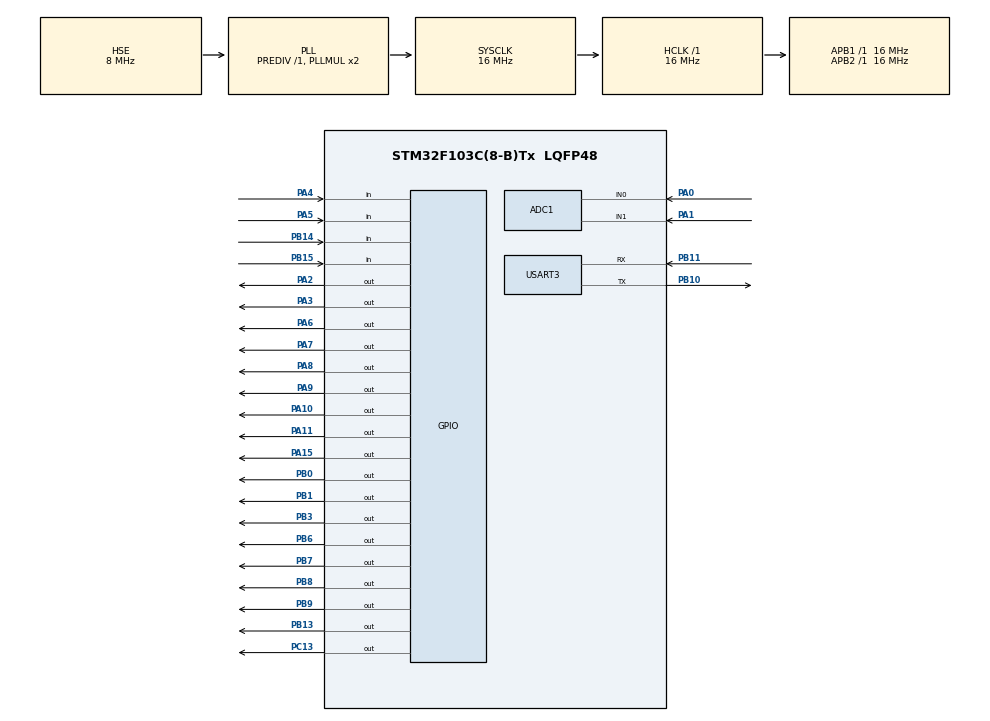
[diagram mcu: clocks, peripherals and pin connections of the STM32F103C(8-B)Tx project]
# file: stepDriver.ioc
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ADC1.Channel-0\#ChannelRegularConversion=ADC_CHANNEL_0
ADC1.Channel-1\#ChannelRegularConversion=ADC_CHANNEL_1
ADC1.ContinuousConvMode=DISABLE
ADC1.DiscontinuousConvMode=ENABLE
ADC1.NbrOfConversion=2
ADC1.NbrOfConversionFlag=1
ADC1.Rank-0\#ChannelRegularConversion=1
ADC1.Rank-1\#ChannelRegularConversion=2
ADC1.SamplingTime-0\#ChannelRegularConversion=ADC_SAMPLETIME_1CYCLE_5
ADC1.SamplingTime-1\#ChannelRegularConversion=ADC_SAMPLETIME_1CYCLE_5
ADC1.master=1
Mcu.Family=STM32F1
Mcu.Name=STM32F103C(8-B)Tx
Mcu.Package=LQFP48
NVIC.PriorityGroup=NVIC_PRIORITYGROUP_4
NVIC.TIM2_IRQn=true\:0\:0\:false\:false\:true\:true\:true
NVIC.USART3_IRQn=true\:0\:0\:false\:false\:true\:true\:true
PA0-WKUP.Signal=ADCx_IN0
PA1.Signal=ADCx_IN1
PA10.Signal=GPIO_Output
PA11.Signal=GPIO_Output
PA13.Mode=Serial_Wire
PA13.Signal=SYS_JTMS-SWDIO
PA14.Mode=Serial_Wire
PA14.Signal=SYS_JTCK-SWCLK
PA15.Signal=GPIO_Output
PA2.Signal=GPIO_Output
PA3.Signal=GPIO_Output
PA4.Signal=GPIO_Input
PA5.Signal=GPIO_Input
PA6.Signal=GPIO_Output
PA7.Signal=GPIO_Output
PA8.Signal=GPIO_Output
PA9.Signal=GPIO_Output
PB0.Signal=GPIO_Output
PB1.Signal=GPIO_Output
PB10.Mode=Asynchronous
PB10.Signal=USART3_TX
PB11.Mode=Asynchronous
PB11.Signal=USART3_RX
PB13.Signal=GPIO_Output
PB14.Signal=GPIO_Input
PB15.Signal=GPIO_Input
PB3.Signal=GPIO_Output
PB6.Signal=GPIO_Output
PB7.Signal=GPIO_Output
PB8.Signal=GPIO_Output
PB9.Signal=GPIO_Output
PC13-TAMPER-RTC.Signal=GPIO_Output
PC14-OSC32_IN.Mode=LSE-External-Clock-Source
PC14-OSC32_IN.Signal=RCC_OSC32_IN
PC15-OSC32_OUT.Mode=LSE-External-Clock-Source
PC15-OSC32_OUT.Signal=RCC_OSC32_OUT
PD0-OSC_IN.Mode=HSE-External-Oscillator
PD0-OSC_IN.Signal=RCC_OSC_IN
PD1-OSC_OUT.Mode=HSE-External-Oscillator
PD1-OSC_OUT.Signal=RCC_OSC_OUT
ProjectManager.HeapSize=0x200
ProjectManager.StackSize=0x400
ProjectManager.TargetToolchain=MDK-ARM V5
RCC.AHBFreq_Value=16000000
RCC.APB1Freq_Value=16000000
RCC.APB1TimFreq_Value=16000000
RCC.APB2Freq_Value=16000000
RCC.APB2TimFreq_Value=16000000
RCC.HCLKFreq_Value=16000000
RCC.PLLSourceVirtual=RCC_PLLSOURCE_HSE
RCC.SYSCLKFreq_VALUE=16000000
RCC.SYSCLKSource=RCC_SYSCLKSOURCE_PLLCLK
RCC.USBFreq_Value=16000000
SH.ADCx_IN0.0=ADC1_IN0,IN0
SH.ADCx_IN1.0=ADC1_IN1,IN1
TIM2.Period=500-1
TIM2.Prescaler=16-1
USART3.VirtualMode=VM_ASYNC
VP_TIM2_VS_ClockSourceINT.Mode=Internal
board=custom

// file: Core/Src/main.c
/* USER CODE BEGIN Header */
/**
  ******************************************************************************
  * @file           : main.c
  * @brief          : Main program body
  ******************************************************************************
  * @attention
  *
  * Copyright (c) 2022 STMicroelectronics.
  * All rights reserved.
  *
  * This software is licensed under terms that can be found in the LICENSE file
  * in the root directory of this software component.
  * If no LICENSE file comes with this software, it is provided AS-IS.
  *
  ******************************************************************************
  */
/* USER CODE END Header */
#include "main.h"

/* USER CODE BEGIN Includes */
#include <string.h>
/* USER CODE END Includes */

/* USER CODE BEGIN PM */

#define DRIVER1_POW_EN_PORT GPIOB
#define DRIVER1_POW_EN_PIN GPIO_PIN_13

#define DRIVER1_A1_UP_PORT GPIOA
#define DRIVER1_A1_UP_PIN GPIO_PIN_11
#define DRIVER1_A1_DOWN_PORT GPIOA
#define DRIVER1_A1_DOWN_PIN GPIO_PIN_10

#define DRIVER1_A2_UP_PORT GPIOA
#define DRIVER1_A2_UP_PIN GPIO_PIN_9
#define DRIVER1_A2_DOWN_PORT GPIOA
#define DRIVER1_A2_DOWN_PIN GPIO_PIN_8

#define DRIVER1_B1_UP_PORT GPIOB
#define DRIVER1_B1_UP_PIN GPIO_PIN_1
#define DRIVER1_B1_DOWN_PORT GPIOB
#define DRIVER1_B1_DOWN_PIN GPIO_PIN_0

#define DRIVER1_B2_UP_PORT GPIOA
#define DRIVER1_B2_UP_PIN GPIO_PIN_7
#define DRIVER1_B2_DOWN_PORT GPIOA
#define DRIVER1_B2_DOWN_PIN GPIO_PIN_6

#define DRIVER2_POW_EN_PORT GPIOC
#define DRIVER2_POW_EN_PIN GPIO_PIN_13

#define DRIVER2_A1_UP_PORT GPIOB
#define DRIVER2_A1_UP_PIN GPIO_PIN_9
#define DRIVER2_A1_DOWN_PORT GPIOB
#define DRIVER2_A1_DOWN_PIN GPIO_PIN_8

#define DRIVER2_A2_UP_PORT GPIOB
#define DRIVER2_A2_UP_PIN GPIO_PIN_7
#define DRIVER2_A2_DOWN_PORT GPIOB
#define DRIVER2_A2_DOWN_PIN GPIO_PIN_6

#define DRIVER2_B1_UP_PORT GPIOA
#define DRIVER2_B1_UP_PIN GPIO_PIN_3
#define DRIVER2_B1_DOWN_PORT GPIOA
#define DRIVER2_B1_DOWN_PIN GPIO_PIN_2

#define DRIVER2_B2_UP_PORT GPIOB
#define DRIVER2_B2_UP_PIN GPIO_PIN_3
#define DRIVER2_B2_DOWN_PORT GPIOA
#define DRIVER2_B2_DOWN_PIN GPIO_PIN_15

#define HALL_DETEC1_PORT GPIOB
#define HALL_DETEC1_PIN GPIO_PIN_14
#define HALL_DETEC2_PORT GPIOB
#define HALL_DETEC2_PIN GPIO_PIN_15
#define HALL_DETEC3_PORT GPIOA
#define HALL_DETEC3_PIN GPIO_PIN_5
#define HALL_DETEC4_PORT GPIOA
#define HALL_DETEC4_PIN GPIO_PIN_4

#define ADC_REPEAT_TIMES    50
#define ADC_CHANNELS        2

#define MOTOR_BUFFER_SIZE   13
/* USER CODE END PM */

ADC_HandleTypeDef hadc1;

TIM_HandleTypeDef htim2;

UART_HandleTypeDef huart3;

/* USER CODE BEGIN PV */
uint16_t ADC_Result[ADC_REPEAT_TIMES][ADC_CHANNELS];
float ADC_Value[ADC_CHANNELS];

uint16_t ADC_value[2][100];
uint8_t i;
uint32_t adc1, adc2;
uint16_t adc[2];

struct msg
{
  uint8_t version;
  uint8_t data_from;
  uint8_t data[MOTOR_BUFFER_SIZE];
};

uint8_t RxBuffer;
static struct msg step_motor_buf;
uint8_t rec_flag, address_flag, version_flag, para_flag, set_flag;

//received motor set data
struct motor_set_data
{
  uint16_t rpm;
  uint8_t height;
  uint8_t dir;
};
struct motor_set_data knift_motor, lidar_motor;

uint8_t stepmoto_check_high_knife = 1, stepmoto_check_low_knife = 1;
uint8_t stepmoto_check_high_lidar = 1, stepmoto_check_low_lidar = 1;
/* USER CODE END PV */

void SystemClock_Config(void);
static void MX_GPIO_Init(void);
static void MX_ADC1_Init(void);
static void MX_USART3_UART_Init(void);
static void MX_TIM2_Init(void);

/* USER CODE BEGIN 0 */

uint8_t check_sum(const void *data, uint16_t length)
{
  const uint8_t *buf = data;
  uint8_t retval = 0;

  while(length)
  {
    retval += *buf++;
    --length;
  }
  return retval;
}

void setMotor_four_reverse(void)
{
  static uint8_t i=0;

  switch(i)
  {
    case 3:
    {
      // A1=1;B1=0;A2=0;B2=0;
      HAL_GPIO_WritePin(DRIVER1_A1_UP_PORT, DRIVER1_A1_UP_PIN, GPIO_PIN_SET);
      HAL_GPIO_WritePin(DRIVER1_A1_DOWN_PORT, DRIVER1_A1_DOWN_PIN, GPIO_PIN_SET);

      HAL_GPIO_WritePin(DRIVER1_B1_UP_PORT, DRIVER1_B1_UP_PIN, GPIO_PIN_RESET);
      HAL_GPIO_WritePin(DRIVER1_B1_DOWN_PORT, DRIVER1_B1_DOWN_PIN, GPIO_PIN_RESET);

      HAL_GPIO_WritePin(DRIVER1_A2_UP_PORT, DRIVER1_A2_UP_PIN, GPIO_PIN_RESET);
      HAL_GPIO_WritePin(DRIVER1_A2_DOWN_PORT, DRIVER1_A2_DOWN_PIN, GPIO_PIN_RESET);

      HAL_GPIO_WritePin(DRIVER1_B2_UP_PORT, DRIVER1_B2_UP_PIN, GPIO_PIN_RESET);
      HAL_GPIO_WritePin(DRIVER1_B2_DOWN_PORT, DRIVER1_B2_DOWN_PIN, GPIO_PIN_RESET);
      break;
    }
    case 2:
    {
      //A1=0;B1=1;A2=0;B2=0;
      HAL_GPIO_WritePin(DRIVER1_A1_UP_PORT, DRIVER1_A1_UP_PIN, GPIO_PIN_RESET);
      HAL_GPIO_WritePin(DRIVER1_A1_DOWN_PORT, DRIVER1_A1_DOWN_PIN, GPIO_PIN_RESET);

      HAL_GPIO_WritePin(DRIVER1_B1_UP_PORT, DRIVER1_B1_UP_PIN, GPIO_PIN_SET);
      HAL_GPIO_WritePin(DRIVER1_B1_DOWN_PORT, DRIVER1_B1_DOWN_PIN, GPIO_PIN_SET);

      HAL_GPIO_WritePin(DRIVER1_A2_UP_PORT, DRIVER1_A2_UP_PIN, GPIO_PIN_RESET);
      HAL_GPIO_WritePin(DRIVER1_A2_DOWN_PORT, DRIVER1_A2_DOWN_PIN, GPIO_PIN_RESET);

      HAL_GPIO_WritePin(DRIVER1_B2_UP_PORT, DRIVER1_B2_UP_PIN, GPIO_PIN_RESET);
      HAL_GPIO_WritePin(DRIVER1_B2_DOWN_PORT, DRIVER1_B2_DOWN_PIN, GPIO_PIN_RESET);

      break;
    }
    case 1:
    {
      //A1=0;B1=0;A2=1;B2=0;
      HAL_GPIO_WritePin(DRIVER1_A1_UP_PORT, DRIVER1_A1_UP_PIN, GPIO_PIN_RESET);
      HAL_GPIO_WritePin(DRIVER1_A1_DOWN_PORT, DRIVER1_A1_DOWN_PIN, GPIO_PIN_RESET);

      HAL_GPIO_WritePin(DRIVER1_B1_UP_PORT, DRIVER1_B1_UP_PIN, GPIO_PIN_RESET);
      HAL_GPIO_WritePin(DRIVER1_B1_DOWN_PORT, DRIVER1_B1_DOWN_PIN, GPIO_PIN_RESET);

      HAL_GPIO_WritePin(DRIVER1_A2_UP_PORT, DRIVER1_A2_UP_PIN, GPIO_PIN_SET);
      HAL_GPIO_WritePin(DRIVER1_A2_DOWN_PORT, DRIVER1_A2_DOWN_PIN, GPIO_PIN_SET);

      HAL_GPIO_WritePin(DRIVER1_B2_UP_PORT, DRIVER1_B2_UP_PIN, GPIO_PIN_RESET);
      HAL_GPIO_WritePin(DRIVER1_B2_DOWN_PORT, DRIVER1_B2_DOWN_PIN, GPIO_PIN_RESET);
      break;
    }
    case 0:
    {
      //A1=0;B1=0;A2=0;B2=1;
      HAL_GPIO_WritePin(DRIVER1_A1_UP_PORT, DRIVER1_A1_UP_PIN, GPIO_PIN_RESET);
      HAL_GPIO_WritePin(DRIVER1_A1_DOWN_PORT, DRIVER1_A1_DOWN_PIN, GPIO_PIN_RESET);

      HAL_GPIO_WritePin(DRIVER1_B1_UP_PORT, DRIVER1_B1_UP_PIN, GPIO_PIN_RESET);
      HAL_GPIO_WritePin(DRIVER1_B1_DOWN_PORT, DRIVER1_B1_DOWN_PIN, GPIO_PIN_RESET);

      HAL_GPIO_WritePin(DRIVER1_A2_UP_PORT, DRIVER1_A2_UP_PIN, GPIO_PIN_RESET);
      HAL_GPIO_WritePin(DRIVER1_A2_DOWN_PORT, DRIVER1_A2_DOWN_PIN, GPIO_PIN_RESET);

      HAL_GPIO_WritePin(DRIVER1_B2_UP_PORT, DRIVER1_B2_UP_PIN, GPIO_PIN_SET);
      HAL_GPIO_WritePin(DRIVER1_B2_DOWN_PORT, DRIVER1_B2_DOWN_PIN, GPIO_PIN_SET);

      break;
    }

  }
  i++;
  if(i>3)
    i=0;

}

void setMotor_four(void)
{
  static uint8_t i=0;

  switch(i)
  {
    case 0:
    {
      // A1=1;B1=0;A2=0;B2=0;
      HAL_GPIO_WritePin(DRIVER1_A1_UP_PORT, DRIVER1_A1_UP_PIN, GPIO_PIN_SET);
      HAL_GPIO_WritePin(DRIVER1_A1_DOWN_PORT, DRIVER1_A1_DOWN_PIN, GPIO_PIN_SET);

      HAL_GPIO_WritePin(DRIVER1_B1_UP_PORT, DRIVER1_B1_UP_PIN, GPIO_PIN_RESET);
      HAL_GPIO_WritePin(DRIVER1_B1_DOWN_PORT, DRIVER1_B1_DOWN_PIN, GPIO_PIN_RESET);

      HAL_GPIO_WritePin(DRIVER1_A2_UP_PORT, DRIVER1_A2_UP_PIN, GPIO_PIN_RESET);
      HAL_GPIO_WritePin(DRIVER1_A2_DOWN_PORT, DRIVER1_A2_DOWN_PIN, GPIO_PIN_RESET);

      HAL_GPIO_WritePin(DRIVER1_B2_UP_PORT, DRIVER1_B2_UP_PIN, GPIO_PIN_RESET);
      HAL_GPIO_WritePin(DRIVER1_B2_DOWN_PORT, DRIVER1_B2_DOWN_PIN, GPIO_PIN_RESET);
      break;
    }
    case 1:
    {
      //A1=0;B1=1;A2=0;B2=0;
      HAL_GPIO_WritePin(DRIVER1_A1_UP_PORT, DRIVER1_A1_UP_PIN, GPIO_PIN_RESET);
      HAL_GPIO_WritePin(DRIVER1_A1_DOWN_PORT, DRIVER1_A1_DOWN_PIN, GPIO_PIN_RESET);

      HAL_GPIO_WritePin(DRIVER1_B1_UP_PORT, DRIVER1_B1_UP_PIN, GPIO_PIN_SET);
      HAL_GPIO_WritePin(DRIVER1_B1_DOWN_PORT, DRIVER1_B1_DOWN_PIN, GPIO_PIN_SET);

      HAL_GPIO_WritePin(DRIVER1_A2_UP_PORT, DRIVER1_A2_UP_PIN, GPIO_PIN_RESET);
      HAL_GPIO_WritePin(DRIVER1_A2_DOWN_PORT, DRIVER1_A2_DOWN_PIN, GPIO_PIN_RESET);

      HAL_GPIO_WritePin(DRIVER1_B2_UP_PORT, DRIVER1_B2_UP_PIN, GPIO_PIN_RESET);
      HAL_GPIO_WritePin(DRIVER1_B2_DOWN_PORT, DRIVER1_B2_DOWN_PIN, GPIO_PIN_RESET);

      break;
    }
    case 2:
    {
      //A1=0;B1=0;A2=1;B2=0;
      HAL_GPIO_WritePin(DRIVER1_A1_UP_PORT, DRIVER1_A1_UP_PIN, GPIO_PIN_RESET);
      HAL_GPIO_WritePin(DRIVER1_A1_DOWN_PORT, DRIVER1_A1_DOWN_PIN, GPIO_PIN_RESET);

      HAL_GPIO_WritePin(DRIVER1_B1_UP_PORT, DRIVER1_B1_UP_PIN, GPIO_PIN_RESET);
      HAL_GPIO_WritePin(DRIVER1_B1_DOWN_PORT, DRIVER1_B1_DOWN_PIN, GPIO_PIN_RESET);

      HAL_GPIO_WritePin(DRIVER1_A2_UP_PORT, DRIVER1_A2_UP_PIN, GPIO_PIN_SET);
      HAL_GPIO_WritePin(DRIVER1_A2_DOWN_PORT, DRIVER1_A2_DOWN_PIN, GPIO_PIN_SET);

      HAL_GPIO_WritePin(DRIVER1_B2_UP_PORT, DRIVER1_B2_UP_PIN, GPIO_PIN_RESET);
      HAL_GPIO_WritePin(DRIVER1_B2_DOWN_PORT, DRIVER1_B2_DOWN_PIN, GPIO_PIN_RESET);
      break;
    }
    case 3:
    {
      //A1=0;B1=0;A2=0;B2=1;
      HAL_GPIO_WritePin(DRIVER1_A1_UP_PORT, DRIVER1_A1_UP_PIN, GPIO_PIN_RESET);
      HAL_GPIO_WritePin(DRIVER1_A1_DOWN_PORT, DRIVER1_A1_DOWN_PIN, GPIO_PIN_RESET);

      HAL_GPIO_WritePin(DRIVER1_B1_UP_PORT, DRIVER1_B1_UP_PIN, GPIO_PIN_RESET);
      HAL_GPIO_WritePin(DRIVER1_B1_DOWN_PORT, DRIVER1_B1_DOWN_PIN, GPIO_PIN_RESET);

      HAL_GPIO_WritePin(DRIVER1_A2_UP_PORT, DRIVER1_A2_UP_PIN, GPIO_PIN_RESET);
      HAL_GPIO_WritePin(DRIVER1_A2_DOWN_PORT, DRIVER1_A2_DOWN_PIN, GPIO_PIN_RESET);

      HAL_GPIO_WritePin(DRIVER1_B2_UP_PORT, DRIVER1_B2_UP_PIN, GPIO_PIN_SET);
      HAL_GPIO_WritePin(DRIVER1_B2_DOWN_PORT, DRIVER1_B2_DOWN_PIN, GPIO_PIN_SET);

      break;
    }
  }
  i++;
  if(i>3)
    i=0;

}

void setMotor_eight(void)
{
  static uint8_t i = 0;
  switch(i)
  {
    case 0:
    {
      // A1=1;B1=0;A2=0;B2=0;
      HAL_GPIO_WritePin(DRIVER1_A1_UP_PORT, DRIVER1_A1_UP_PIN, GPIO_PIN_SET);
      HAL_GPIO_WritePin(DRIVER1_A1_DOWN_PORT, DRIVER1_A1_DOWN_PIN, GPIO_PIN_SET);

      HAL_GPIO_WritePin(DRIVER1_B1_UP_PORT, DRIVER1_B1_UP_PIN, GPIO_PIN_RESET);
      HAL_GPIO_WritePin(DRIVER1_B1_DOWN_PORT, DRIVER1_B1_DOWN_PIN, GPIO_PIN_RESET);

      HAL_GPIO_WritePin(DRIVER1_A2_UP_PORT, DRIVER1_A2_UP_PIN, GPIO_PIN_RESET);
      HAL_GPIO_WritePin(DRIVER1_A2_DOWN_PORT, DRIVER1_A2_DOWN_PIN, GPIO_PIN_RESET);

      HAL_GPIO_WritePin(DRIVER1_B2_UP_PORT, DRIVER1_B2_UP_PIN, GPIO_PIN_RESET);
      HAL_GPIO_WritePin(DRIVER1_B2_DOWN_PORT, DRIVER1_B2_DOWN_PIN, GPIO_PIN_RESET);

      break;
    }

    case 1:
    {
      // A1=1;B1=1;A2=0;B2=0;
      HAL_GPIO_WritePin(DRIVER1_A1_UP_PORT, DRIVER1_A1_UP_PIN, GPIO_PIN_SET);
      HAL_GPIO_WritePin(DRIVER1_A1_DOWN_PORT, DRIVER1_A1_DOWN_PIN, GPIO_PIN_SET);

      HAL_GPIO_WritePin(DRIVER1_B1_UP_PORT, DRIVER1_B1_UP_PIN, GPIO_PIN_SET);
      HAL_GPIO_WritePin(DRIVER1_B1_DOWN_PORT, DRIVER1_B1_DOWN_PIN, GPIO_PIN_SET);

      HAL_GPIO_WritePin(DRIVER1_A2_UP_PORT, DRIVER1_A2_UP_PIN, GPIO_PIN_RESET);
      HAL_GPIO_WritePin(DRIVER1_A2_DOWN_PORT, DRIVER1_A2_DOWN_PIN, GPIO_PIN_RESET);

      HAL_GPIO_WritePin(DRIVER1_B2_UP_PORT, DRIVER1_B2_UP_PIN, GPIO_PIN_RESET);
      HAL_GPIO_WritePin(DRIVER1_B2_DOWN_PORT, DRIVER1_B2_DOWN_PIN, GPIO_PIN_RESET);
      break;
    }

    case 2:
    {
      // A1=0;B1=1;A2=0;B2=0;
      HAL_GPIO_WritePin(DRIVER1_A1_UP_PORT, DRIVER1_A1_UP_PIN, GPIO_PIN_RESET);
      HAL_GPIO_WritePin(DRIVER1_A1_DOWN_PORT, DRIVER1_A1_DOWN_PIN, GPIO_PIN_RESET);

      HAL_GPIO_WritePin(DRIVER1_B1_UP_PORT, DRIVER1_B1_UP_PIN, GPIO_PIN_SET);
      HAL_GPIO_WritePin(DRIVER1_B1_DOWN_PORT, DRIVER1_B1_DOWN_PIN, GPIO_PIN_SET);

      HAL_GPIO_WritePin(DRIVER1_A2_UP_PORT, DRIVER1_A2_UP_PIN, GPIO_PIN_RESET);
      HAL_GPIO_WritePin(DRIVER1_A2_DOWN_PORT, DRIVER1_A2_DOWN_PIN, GPIO_PIN_RESET);

      HAL_GPIO_WritePin(DRIVER1_B2_UP_PORT, DRIVER1_B2_UP_PIN, GPIO_PIN_RESET);
      HAL_GPIO_WritePin(DRIVER1_B2_DOWN_PORT, DRIVER1_B2_DOWN_PIN, GPIO_PIN_RESET);

      break;
    }

    case 3:
    {
      // A1=0;B1=1;A2=1;B2=0;
      HAL_GPIO_WritePin(DRIVER1_A1_UP_PORT, DRIVER1_A1_UP_PIN, GPIO_PIN_RESET);
      HAL_GPIO_WritePin(DRIVER1_A1_DOWN_PORT, DRIVER1_A1_DOWN_PIN, GPIO_PIN_RESET);

      HAL_GPIO_WritePin(DRIVER1_B1_UP_PORT, DRIVER1_B1_UP_PIN, GPIO_PIN_SET);
      HAL_GPIO_WritePin(DRIVER1_B1_DOWN_PORT, DRIVER1_B1_DOWN_PIN, GPIO_PIN_SET);

      HAL_GPIO_WritePin(DRIVER1_A2_UP_PORT, DRIVER1_A2_UP_PIN, GPIO_PIN_SET);
      HAL_GPIO_WritePin(DRIVER1_A2_DOWN_PORT, DRIVER1_A2_DOWN_PIN, GPIO_PIN_SET);

      HAL_GPIO_WritePin(DRIVER1_B2_UP_PORT, DRIVER1_B2_UP_PIN, GPIO_PIN_RESET);
      HAL_GPIO_WritePin(DRIVER1_B2_DOWN_PORT, DRIVER1_B2_DOWN_PIN, GPIO_PIN_RESET);

      break;
    }
    case 4:
    {
      // A1=0;B1=0;A2=1;B2=0;
      HAL_GPIO_WritePin(DRIVER1_A1_UP_PORT, DRIVER1_A1_UP_PIN, GPIO_PIN_RESET);
      HAL_GPIO_WritePin(DRIVER1_A1_DOWN_PORT, DRIVER1_A1_DOWN_PIN, GPIO_PIN_RESET);

      HAL_GPIO_WritePin(DRIVER1_B1_UP_PORT, DRIVER1_B1_UP_PIN, GPIO_PIN_RESET);
      HAL_GPIO_WritePin(DRIVER1_B1_DOWN_PORT, DRIVER1_B1_DOWN_PIN, GPIO_PIN_RESET);

      HAL_GPIO_WritePin(DRIVER1_A2_UP_PORT, DRIVER1_A2_UP_PIN, GPIO_PIN_SET);
      HAL_GPIO_WritePin(DRIVER1_A2_DOWN_PORT, DRIVER1_A2_DOWN_PIN, GPIO_PIN_SET);

      HAL_GPIO_WritePin(DRIVER1_B2_UP_PORT, DRIVER1_B2_UP_PIN, GPIO_PIN_RESET);
      HAL_GPIO_WritePin(DRIVER1_B2_DOWN_PORT, DRIVER1_B2_DOWN_PIN, GPIO_PIN_RESET);
      break;
    }

    case 5:
    {
      // A1=0;B1=0;A2=1;B2=1;
      HAL_GPIO_WritePin(DRIVER1_A1_UP_PORT, DRIVER1_A1_UP_PIN, GPIO_PIN_RESET);
      HAL_GPIO_WritePin(DRIVER1_A1_DOWN_PORT, DRIVER1_A1_DOWN_PIN, GPIO_PIN_RESET);

      HAL_GPIO_WritePin(DRIVER1_B1_UP_PORT, DRIVER1_B1_UP_PIN, GPIO_PIN_RESET);
      HAL_GPIO_WritePin(DRIVER1_B1_DOWN_PORT, DRIVER1_B1_DOWN_PIN, GPIO_PIN_RESET);

      HAL_GPIO_WritePin(DRIVER1_A2_UP_PORT, DRIVER1_A2_UP_PIN, GPIO_PIN_SET);
      HAL_GPIO_WritePin(DRIVER1_A2_DOWN_PORT, DRIVER1_A2_DOWN_PIN, GPIO_PIN_SET);

      HAL_GPIO_WritePin(DRIVER1_B2_UP_PORT, DRIVER1_B2_UP_PIN, GPIO_PIN_SET);
      HAL_GPIO_WritePin(DRIVER1_B2_DOWN_PORT, DRIVER1_B2_DOWN_PIN, GPIO_PIN_SET);
      break;
    }

    case 6:
    {
      // A1=0;B1=0;A2=0;B2=1;
      HAL_GPIO_WritePin(DRIVER1_A1_UP_PORT, DRIVER1_A1_UP_PIN, GPIO_PIN_RESET);
      HAL_GPIO_WritePin(DRIVER1_A1_DOWN_PORT, DRIVER1_A1_DOWN_PIN, GPIO_PIN_RESET);

      HAL_GPIO_WritePin(DRIVER1_B1_UP_PORT, DRIVER1_B1_UP_PIN, GPIO_PIN_RESET);
      HAL_GPIO_WritePin(DRIVER1_B1_DOWN_PORT, DRIVER1_B1_DOWN_PIN, GPIO_PIN_RESET);

      HAL_GPIO_WritePin(DRIVER1_A2_UP_PORT, DRIVER1_A2_UP_PIN, GPIO_PIN_RESET);
      HAL_GPIO_WritePin(DRIVER1_A2_DOWN_PORT, DRIVER1_A2_DOWN_PIN, GPIO_PIN_RESET);

      HAL_GPIO_WritePin(DRIVER1_B2_UP_PORT, DRIVER1_B2_UP_PIN, GPIO_PIN_SET);
      HAL_GPIO_WritePin(DRIVER1_B2_DOWN_PORT, DRIVER1_B2_DOWN_PIN, GPIO_PIN_SET);
      break;
    }

    case 7:
    {
      // A1=1;B1=0;A2=0;B2=1;
      HAL_GPIO_WritePin(DRIVER1_A1_UP_PORT, DRIVER1_A1_UP_PIN, GPIO_PIN_SET);
      HAL_GPIO_WritePin(DRIVER1_A1_DOWN_PORT, DRIVER1_A1_DOWN_PIN, GPIO_PIN_SET);

      HAL_GPIO_WritePin(DRIVER1_B1_UP_PORT, DRIVER1_B1_UP_PIN, GPIO_PIN_RESET);
      HAL_GPIO_WritePin(DRIVER1_B1_DOWN_PORT, DRIVER1_B1_DOWN_PIN, GPIO_PIN_RESET);

      HAL_GPIO_WritePin(DRIVER1_A2_UP_PORT, DRIVER1_A2_UP_PIN, GPIO_PIN_RESET);
      HAL_GPIO_WritePin(DRIVER1_A2_DOWN_PORT, DRIVER1_A2_DOWN_PIN, GPIO_PIN_RESET);

      HAL_GPIO_WritePin(DRIVER1_B2_UP_PORT, DRIVER1_B2_UP_PIN, GPIO_PIN_SET);
      HAL_GPIO_WritePin(DRIVER1_B2_DOWN_PORT, DRIVER1_B2_DOWN_PIN, GPIO_PIN_SET);
      break;
    }

  }
  i++;
  if(i==8)
    i=0;
}

void setMotor_eight_reverse(void)
{
  static uint8_t i = 0;
  switch(i)
  {
    case 7:
    {
      // A1=1;B1=0;A2=0;B2=0;
      HAL_GPIO_WritePin(DRIVER1_A1_UP_PORT, DRIVER1_A1_UP_PIN, GPIO_PIN_SET);
      HAL_GPIO_WritePin(DRIVER1_A1_DOWN_PORT, DRIVER1_A1_DOWN_PIN, GPIO_PIN_SET);

      HAL_GPIO_WritePin(DRIVER1_B1_UP_PORT, DRIVER1_B1_UP_PIN, GPIO_PIN_RESET);
      HAL_GPIO_WritePin(DRIVER1_B1_DOWN_PORT, DRIVER1_B1_DOWN_PIN, GPIO_PIN_RESET);

      HAL_GPIO_WritePin(DRIVER1_A2_UP_PORT, DRIVER1_A2_UP_PIN, GPIO_PIN_RESET);
      HAL_GPIO_WritePin(DRIVER1_A2_DOWN_PORT, DRIVER1_A2_DOWN_PIN, GPIO_PIN_RESET);

      HAL_GPIO_WritePin(DRIVER1_B2_UP_PORT, DRIVER1_B2_UP_PIN, GPIO_PIN_RESET);
      HAL_GPIO_WritePin(DRIVER1_B2_DOWN_PORT, DRIVER1_B2_DOWN_PIN, GPIO_PIN_RESET);

      break;
    }

    case 6:
    {
      // A1=1;B1=1;A2=0;B2=0;
      HAL_GPIO_WritePin(DRIVER1_A1_UP_PORT, DRIVER1_A1_UP_PIN, GPIO_PIN_SET);
      HAL_GPIO_WritePin(DRIVER1_A1_DOWN_PORT, DRIVER1_A1_DOWN_PIN, GPIO_PIN_SET);

      HAL_GPIO_WritePin(DRIVER1_B1_UP_PORT, DRIVER1_B1_UP_PIN, GPIO_PIN_SET);
      HAL_GPIO_WritePin(DRIVER1_B1_DOWN_PORT, DRIVER1_B1_DOWN_PIN, GPIO_PIN_SET);

      HAL_GPIO_WritePin(DRIVER1_A2_UP_PORT, DRIVER1_A2_UP_PIN, GPIO_PIN_RESET);
      HAL_GPIO_WritePin(DRIVER1_A2_DOWN_PORT, DRIVER1_A2_DOWN_PIN, GPIO_PIN_RESET);

      HAL_GPIO_WritePin(DRIVER1_B2_UP_PORT, DRIVER1_B2_UP_PIN, GPIO_PIN_RESET);
      HAL_GPIO_WritePin(DRIVER1_B2_DOWN_PORT, DRIVER1_B2_DOWN_PIN, GPIO_PIN_RESET);
      break;
    }

    case 5:
    {
      // A1=0;B1=1;A2=0;B2=0;
      HAL_GPIO_WritePin(DRIVER1_A1_UP_PORT, DRIVER1_A1_UP_PIN, GPIO_PIN_RESET);
      HAL_GPIO_WritePin(DRIVER1_A1_DOWN_PORT, DRIVER1_A1_DOWN_PIN, GPIO_PIN_RESET);

      HAL_GPIO_WritePin(DRIVER1_B1_UP_PORT, DRIVER1_B1_UP_PIN, GPIO_PIN_SET);
      HAL_GPIO_WritePin(DRIVER1_B1_DOWN_PORT, DRIVER1_B1_DOWN_PIN, GPIO_PIN_SET);

      HAL_GPIO_WritePin(DRIVER1_A2_UP_PORT, DRIVER1_A2_UP_PIN, GPIO_PIN_RESET);
      HAL_GPIO_WritePin(DRIVER1_A2_DOWN_PORT, DRIVER1_A2_DOWN_PIN, GPIO_PIN_RESET);

      HAL_GPIO_WritePin(DRIVER1_B2_UP_PORT, DRIVER1_B2_UP_PIN, GPIO_PIN_RESET);
      HAL_GPIO_WritePin(DRIVER1_B2_DOWN_PORT, DRIVER1_B2_DOWN_PIN, GPIO_PIN_RESET);

      break;
    }

    case 4:
    {
      // A1=0;B1=1;A2=1;B2=0;
      HAL_GPIO_WritePin(DRIVER1_A1_UP_PORT, DRIVER1_A1_UP_PIN, GPIO_PIN_RESET);
      HAL_GPIO_WritePin(DRIVER1_A1_DOWN_PORT, DRIVER1_A1_DOWN_PIN, GPIO_PIN_RESET);

      HAL_GPIO_WritePin(DRIVER1_B1_UP_PORT, DRIVER1_B1_UP_PIN, GPIO_PIN_SET);
      HAL_GPIO_WritePin(DRIVER1_B1_DOWN_PORT, DRIVER1_B1_DOWN_PIN, GPIO_PIN_SET);

      HAL_GPIO_WritePin(DRIVER1_A2_UP_PORT, DRIVER1_A2_UP_PIN, GPIO_PIN_SET);
      HAL_GPIO_WritePin(DRIVER1_A2_DOWN_PORT, DRIVER1_A2_DOWN_PIN, GPIO_PIN_SET);

      HAL_GPIO_WritePin(DRIVER1_B2_UP_PORT, DRIVER1_B2_UP_PIN, GPIO_PIN_RESET);
      HAL_GPIO_WritePin(DRIVER1_B2_DOWN_PORT, DRIVER1_B2_DOWN_PIN, GPIO_PIN_RESET);

      break;
    }
    case 3:
    {
      // A1=0;B1=0;A2=1;B2=0;
      HAL_GPIO_WritePin(DRIVER1_A1_UP_PORT, DRIVER1_A1_UP_PIN, GPIO_PIN_RESET);
      HAL_GPIO_WritePin(DRIVER1_A1_DOWN_PORT, DRIVER1_A1_DOWN_PIN, GPIO_PIN_RESET);

      HAL_GPIO_WritePin(DRIVER1_B1_UP_PORT, DRIVER1_B1_UP_PIN, GPIO_PIN_RESET);
      HAL_GPIO_WritePin(DRIVER1_B1_DOWN_PORT, DRIVER1_B1_DOWN_PIN, GPIO_PIN_RESET);

      HAL_GPIO_WritePin(DRIVER1_A2_UP_PORT, DRIVER1_A2_UP_PIN, GPIO_PIN_SET);
      HAL_GPIO_WritePin(DRIVER1_A2_DOWN_PORT, DRIVER1_A2_DOWN_PIN, GPIO_PIN_SET);

      HAL_GPIO_WritePin(DRIVER1_B2_UP_PORT, DRIVER1_B2_UP_PIN, GPIO_PIN_RESET);
      HAL_GPIO_WritePin(DRIVER1_B2_DOWN_PORT, DRIVER1_B2_DOWN_PIN, GPIO_PIN_RESET);
      break;
    }

    case 2:
    {
      // A1=0;B1=0;A2=1;B2=1;
      HAL_GPIO_WritePin(DRIVER1_A1_UP_PORT, DRIVER1_A1_UP_PIN, GPIO_PIN_RESET);
      HAL_GPIO_WritePin(DRIVER1_A1_DOWN_PORT, DRIVER1_A1_DOWN_PIN, GPIO_PIN_RESET);

      HAL_GPIO_WritePin(DRIVER1_B1_UP_PORT, DRIVER1_B1_UP_PIN, GPIO_PIN_RESET);
      HAL_GPIO_WritePin(DRIVER1_B1_DOWN_PORT, DRIVER1_B1_DOWN_PIN, GPIO_PIN_RESET);

      HAL_GPIO_WritePin(DRIVER1_A2_UP_PORT, DRIVER1_A2_UP_PIN, GPIO_PIN_SET);
      HAL_GPIO_WritePin(DRIVER1_A2_DOWN_PORT, DRIVER1_A2_DOWN_PIN, GPIO_PIN_SET);

      HAL_GPIO_WritePin(DRIVER1_B2_UP_PORT, DRIVER1_B2_UP_PIN, GPIO_PIN_SET);
      HAL_GPIO_WritePin(DRIVER1_B2_DOWN_PORT, DRIVER1_B2_DOWN_PIN, GPIO_PIN_SET);
      break;
    }

    case 1:
    {
      // A1=0;B1=0;A2=0;B2=1;
      HAL_GPIO_WritePin(DRIVER1_A1_UP_PORT, DRIVER1_A1_UP_PIN, GPIO_PIN_RESET);
      HAL_GPIO_WritePin(DRIVER1_A1_DOWN_PORT, DRIVER1_A1_DOWN_PIN, GPIO_PIN_RESET);

      HAL_GPIO_WritePin(DRIVER1_B1_UP_PORT, DRIVER1_B1_UP_PIN, GPIO_PIN_RESET);
      HAL_GPIO_WritePin(DRIVER1_B1_DOWN_PORT, DRIVER1_B1_DOWN_PIN, GPIO_PIN_RESET);

      HAL_GPIO_WritePin(DRIVER1_A2_UP_PORT, DRIVER1_A2_UP_PIN, GPIO_PIN_RESET);
      HAL_GPIO_WritePin(DRIVER1_A2_DOWN_PORT, DRIVER1_A2_DOWN_PIN, GPIO_PIN_RESET);

      HAL_GPIO_WritePin(DRIVER1_B2_UP_PORT, DRIVER1_B2_UP_PIN, GPIO_PIN_SET);
      HAL_GPIO_WritePin(DRIVER1_B2_DOWN_PORT, DRIVER1_B2_DOWN_PIN, GPIO_PIN_SET);
      break;
    }

    case 0:
    {
      // A1=1;B1=0;A2=0;B2=1;
      HAL_GPIO_WritePin(DRIVER1_A1_UP_PORT, DRIVER1_A1_UP_PIN, GPIO_PIN_SET);
      HAL_GPIO_WritePin(DRIVER1_A1_DOWN_PORT, DRIVER1_A1_DOWN_PIN, GPIO_PIN_SET);

      HAL_GPIO_WritePin(DRIVER1_B1_UP_PORT, DRIVER1_B1_UP_PIN, GPIO_PIN_RESET);
      HAL_GPIO_WritePin(DRIVER1_B1_DOWN_PORT, DRIVER1_B1_DOWN_PIN, GPIO_PIN_RESET);

      HAL_GPIO_WritePin(DRIVER1_A2_UP_PORT, DRIVER1_A2_UP_PIN, GPIO_PIN_RESET);
      HAL_GPIO_WritePin(DRIVER1_A2_DOWN_PORT, DRIVER1_A2_DOWN_PIN, GPIO_PIN_RESET);

      HAL_GPIO_WritePin(DRIVER1_B2_UP_PORT, DRIVER1_B2_UP_PIN, GPIO_PIN_SET);
      HAL_GPIO_WritePin(DRIVER1_B2_DOWN_PORT, DRIVER1_B2_DOWN_PIN, GPIO_PIN_SET);
      break;
    }
  }
  i++;
  if(i==8)
    i=0;
}

void setMotor_four_reverse2(void)
{
  static uint8_t i=0;

  switch(i)
  {
    case 3:
    {
      // A1=1;B1=0;A2=0;B2=0;
      HAL_GPIO_WritePin(DRIVER2_A1_UP_PORT, DRIVER2_A1_UP_PIN, GPIO_PIN_SET);
      HAL_GPIO_WritePin(DRIVER2_A1_DOWN_PORT, DRIVER2_A1_DOWN_PIN, GPIO_PIN_SET);

      HAL_GPIO_WritePin(DRIVER2_B1_UP_PORT, DRIVER2_B1_UP_PIN, GPIO_PIN_RESET);
      HAL_GPIO_WritePin(DRIVER2_B1_DOWN_PORT, DRIVER2_B1_DOWN_PIN, GPIO_PIN_RESET);

      HAL_GPIO_WritePin(DRIVER2_A2_UP_PORT, DRIVER2_A2_UP_PIN, GPIO_PIN_RESET);
      HAL_GPIO_WritePin(DRIVER2_A2_DOWN_PORT, DRIVER2_A2_DOWN_PIN, GPIO_PIN_RESET);

      HAL_GPIO_WritePin(DRIVER2_B2_UP_PORT, DRIVER2_B2_UP_PIN, GPIO_PIN_RESET);
      HAL_GPIO_WritePin(DRIVER2_B2_DOWN_PORT, DRIVER2_B2_DOWN_PIN, GPIO_PIN_RESET);
      break;
    }
    case 2:
    {
      //A1=0;B1=1;A2=0;B2=0;
      HAL_GPIO_WritePin(DRIVER2_A1_UP_PORT, DRIVER2_A1_UP_PIN, GPIO_PIN_RESET);
      HAL_GPIO_WritePin(DRIVER2_A1_DOWN_PORT, DRIVER2_A1_DOWN_PIN, GPIO_PIN_RESET);

      HAL_GPIO_WritePin(DRIVER2_B1_UP_PORT, DRIVER2_B1_UP_PIN, GPIO_PIN_SET);
      HAL_GPIO_WritePin(DRIVER2_B1_DOWN_PORT, DRIVER2_B1_DOWN_PIN, GPIO_PIN_SET);

      HAL_GPIO_WritePin(DRIVER2_A2_UP_PORT, DRIVER2_A2_UP_PIN, GPIO_PIN_RESET);
      HAL_GPIO_WritePin(DRIVER2_A2_DOWN_PORT, DRIVER2_A2_DOWN_PIN, GPIO_PIN_RESET);

      HAL_GPIO_WritePin(DRIVER2_B2_UP_PORT, DRIVER2_B2_UP_PIN, GPIO_PIN_RESET);
      HAL_GPIO_WritePin(DRIVER2_B2_DOWN_PORT, DRIVER2_B2_DOWN_PIN, GPIO_PIN_RESET);

      break;
    }
    case 1:
    {
      //A1=0;B1=0;A2=1;B2=0;
      HAL_GPIO_WritePin(DRIVER2_A1_UP_PORT, DRIVER2_A1_UP_PIN, GPIO_PIN_RESET);
      HAL_GPIO_WritePin(DRIVER2_A1_DOWN_PORT, DRIVER2_A1_DOWN_PIN, GPIO_PIN_RESET);

      HAL_GPIO_WritePin(DRIVER2_B1_UP_PORT, DRIVER2_B1_UP_PIN, GPIO_PIN_RESET);
      HAL_GPIO_WritePin(DRIVER2_B1_DOWN_PORT, DRIVER2_B1_DOWN_PIN, GPIO_PIN_RESET);

      HAL_GPIO_WritePin(DRIVER2_A2_UP_PORT, DRIVER2_A2_UP_PIN, GPIO_PIN_SET);
      HAL_GPIO_WritePin(DRIVER2_A2_DOWN_PORT, DRIVER2_A2_DOWN_PIN, GPIO_PIN_SET);

      HAL_GPIO_WritePin(DRIVER2_B2_UP_PORT, DRIVER2_B2_UP_PIN, GPIO_PIN_RESET);
      HAL_GPIO_WritePin(DRIVER2_B2_DOWN_PORT, DRIVER2_B2_DOWN_PIN, GPIO_PIN_RESET);
      break;
    }
    case 0:
    {
      //A1=0;B1=0;A2=0;B2=1;
      HAL_GPIO_WritePin(DRIVER2_A1_UP_PORT, DRIVER2_A1_UP_PIN, GPIO_PIN_RESET);
      HAL_GPIO_WritePin(DRIVER2_A1_DOWN_PORT, DRIVER2_A1_DOWN_PIN, GPIO_PIN_RESET);

      HAL_GPIO_WritePin(DRIVER2_B1_UP_PORT, DRIVER2_B1_UP_PIN, GPIO_PIN_RESET);
      HAL_GPIO_WritePin(DRIVER2_B1_DOWN_PORT, DRIVER2_B1_DOWN_PIN, GPIO_PIN_RESET);

      HAL_GPIO_WritePin(DRIVER2_A2_UP_PORT, DRIVER2_A2_UP_PIN, GPIO_PIN_RESET);
      HAL_GPIO_WritePin(DRIVER2_A2_DOWN_PORT, DRIVER2_A2_DOWN_PIN, GPIO_PIN_RESET);

      HAL_GPIO_WritePin(DRIVER2_B2_UP_PORT, DRIVER2_B2_UP_PIN, GPIO_PIN_SET);
      HAL_GPIO_WritePin(DRIVER2_B2_DOWN_PORT, DRIVER2_B2_DOWN_PIN, GPIO_PIN_SET);

      break;
    }

  }
  i++;
  if(i>3)
    i=0;

}

void setMotor_four2(void)
{
  static uint8_t i=0;

  switch(i)
  {
    case 0:
    {
      // A1=1;B1=0;A2=0;B2=0;
      HAL_GPIO_WritePin(DRIVER2_A1_UP_PORT, DRIVER2_A1_UP_PIN, GPIO_PIN_SET);
      HAL_GPIO_WritePin(DRIVER2_A1_DOWN_PORT, DRIVER2_A1_DOWN_PIN, GPIO_PIN_SET);

      HAL_GPIO_WritePin(DRIVER2_B1_UP_PORT, DRIVER2_B1_UP_PIN, GPIO_PIN_RESET);
      HAL_GPIO_WritePin(DRIVER2_B1_DOWN_PORT, DRIVER2_B1_DOWN_PIN, GPIO_PIN_RESET);

      HAL_GPIO_WritePin(DRIVER2_A2_UP_PORT, DRIVER2_A2_UP_PIN, GPIO_PIN_RESET);
      HAL_GPIO_WritePin(DRIVER2_A2_DOWN_PORT, DRIVER2_A2_DOWN_PIN, GPIO_PIN_RESET);

      HAL_GPIO_WritePin(DRIVER2_B2_UP_PORT, DRIVER2_B2_UP_PIN, GPIO_PIN_RESET);
      HAL_GPIO_WritePin(DRIVER2_B2_DOWN_PORT, DRIVER2_B2_DOWN_PIN, GPIO_PIN_RESET);
      break;
    }
    case 1:
    {
      //A1=0;B1=1;A2=0;B2=0;
      HAL_GPIO_WritePin(DRIVER2_A1_UP_PORT, DRIVER2_A1_UP_PIN, GPIO_PIN_RESET);
      HAL_GPIO_WritePin(DRIVER2_A1_DOWN_PORT, DRIVER2_A1_DOWN_PIN, GPIO_PIN_RESET);

      HAL_GPIO_WritePin(DRIVER2_B1_UP_PORT, DRIVER2_B1_UP_PIN, GPIO_PIN_SET);
      HAL_GPIO_WritePin(DRIVER2_B1_DOWN_PORT, DRIVER2_B1_DOWN_PIN, GPIO_PIN_SET);

      HAL_GPIO_WritePin(DRIVER2_A2_UP_PORT, DRIVER2_A2_UP_PIN, GPIO_PIN_RESET);
      HAL_GPIO_WritePin(DRIVER2_A2_DOWN_PORT, DRIVER2_A2_DOWN_PIN, GPIO_PIN_RESET);

      HAL_GPIO_WritePin(DRIVER2_B2_UP_PORT, DRIVER2_B2_UP_PIN, GPIO_PIN_RESET);
      HAL_GPIO_WritePin(DRIVER2_B2_DOWN_PORT, DRIVER2_B2_DOWN_PIN, GPIO_PIN_RESET);

      break;
    }
    case 2:
    {
      //A1=0;B1=0;A2=1;B2=0;
      HAL_GPIO_WritePin(DRIVER2_A1_UP_PORT, DRIVER2_A1_UP_PIN, GPIO_PIN_RESET);
      HAL_GPIO_WritePin(DRIVER2_A1_DOWN_PORT, DRIVER2_A1_DOWN_PIN, GPIO_PIN_RESET);

      HAL_GPIO_WritePin(DRIVER2_B1_UP_PORT, DRIVER2_B1_UP_PIN, GPIO_PIN_RESET);
      HAL_GPIO_WritePin(DRIVER2_B1_DOWN_PORT, DRIVER2_B1_DOWN_PIN, GPIO_PIN_RESET);

      HAL_GPIO_WritePin(DRIVER2_A2_UP_PORT, DRIVER2_A2_UP_PIN, GPIO_PIN_SET);
      HAL_GPIO_WritePin(DRIVER2_A2_DOWN_PORT, DRIVER2_A2_DOWN_PIN, GPIO_PIN_SET);

      HAL_GPIO_WritePin(DRIVER2_B2_UP_PORT, DRIVER2_B2_UP_PIN, GPIO_PIN_RESET);
      HAL_GPIO_WritePin(DRIVER2_B2_DOWN_PORT, DRIVER2_B2_DOWN_PIN, GPIO_PIN_RESET);
      break;
    }
    case 3:
    {
      //A1=0;B1=0;A2=0;B2=1;
      HAL_GPIO_WritePin(DRIVER2_A1_UP_PORT, DRIVER2_A1_UP_PIN, GPIO_PIN_RESET);
      HAL_GPIO_WritePin(DRIVER2_A1_DOWN_PORT, DRIVER2_A1_DOWN_PIN, GPIO_PIN_RESET);

      HAL_GPIO_WritePin(DRIVER2_B1_UP_PORT, DRIVER2_B1_UP_PIN, GPIO_PIN_RESET);
      HAL_GPIO_WritePin(DRIVER2_B1_DOWN_PORT, DRIVER2_B1_DOWN_PIN, GPIO_PIN_RESET);

      HAL_GPIO_WritePin(DRIVER2_A2_UP_PORT, DRIVER2_A2_UP_PIN, GPIO_PIN_RESET);
      HAL_GPIO_WritePin(DRIVER2_A2_DOWN_PORT, DRIVER2_A2_DOWN_PIN, GPIO_PIN_RESET);

      HAL_GPIO_WritePin(DRIVER2_B2_UP_PORT, DRIVER2_B2_UP_PIN, GPIO_PIN_SET);
      HAL_GPIO_WritePin(DRIVER2_B2_DOWN_PORT, DRIVER2_B2_DOWN_PIN, GPIO_PIN_SET);

      break;
    }
  }
  i++;
  if(i>3)
    i=0;

}

/* USER CODE END 0 */

int main(void)
{

  /* MCU Configuration--------------------------------------------------------*/

  /* Reset of all peripherals, Initializes the Flash interface and the Systick. */
  HAL_Init();

  /* Configure the system clock */
  SystemClock_Config();

  /* Initialize all configured peripherals */
  MX_GPIO_Init();
  MX_ADC1_Init();
  MX_USART3_UART_Init();
  MX_TIM2_Init();
  /* USER CODE BEGIN 2 */
  HAL_Delay(4000);

  HAL_GPIO_WritePin(DRIVER1_POW_EN_PORT, DRIVER1_POW_EN_PIN, GPIO_PIN_RESET);
  HAL_GPIO_WritePin(DRIVER2_POW_EN_PORT, DRIVER2_POW_EN_PIN, GPIO_PIN_RESET);

  HAL_Delay(2000);
  __HAL_TIM_CLEAR_IT(&htim2, TIM_IT_UPDATE);
  HAL_TIM_Base_Start_IT(&htim2);

  //uart
  HAL_Delay(1000);
  HAL_UART_Receive_IT(&huart3, (uint8_t *)&RxBuffer, 1);

   //set_flag = 1;

  /* USER CODE END 2 */

  /* Infinite loop */
  while (1)
  {

    /* USER CODE BEGIN 3 */
    //adc
     uint16_t Count = 20;
     adc[0] = 0;
     adc[1] = 0;
     while(Count)
     {
       for(i = 0; i < 2; i++)
       {
         HAL_ADC_Start(&hadc1);

         HAL_ADC_PollForConversion(&hadc1, 0xffff); //等待ADC转换完成

         if(HAL_IS_BIT_SET(HAL_ADC_GetState(&hadc1), HAL_ADC_STATE_REG_EOC))
         {
            adc[i] += HAL_ADC_GetValue(&hadc1); //voltage
         }
       }

       HAL_ADC_Stop(&hadc1);
       Count--;

       HAL_Delay(5);
     }
     ADC_Value[0] = adc[0]/20 * 3.3f / 4096.0f;
     ADC_Value[1] = adc[1]/20 * 3.3f / 4096.0f;
     HAL_Delay(1000);

    //Hall detect
    stepmoto_check_high_knife = !HAL_GPIO_ReadPin(HALL_DETEC1_PORT, HALL_DETEC1_PIN);
    stepmoto_check_low_knife = !HAL_GPIO_ReadPin(HALL_DETEC2_PORT, HALL_DETEC2_PIN);
    stepmoto_check_high_lidar = !HAL_GPIO_ReadPin(HALL_DETEC3_PORT, HALL_DETEC3_PIN);
    stepmoto_check_low_lidar = !HAL_GPIO_ReadPin(HALL_DETEC4_PORT, HALL_DETEC4_PIN);

    //uart parser
    if(rec_flag)
    {
      rec_flag = 0;
      if(step_motor_buf.data[7] == check_sum((const void*)&step_motor_buf.data[2], 5))
      {
        if(step_motor_buf.data[1] == 0x01) //knife motor
        {
          if(step_motor_buf.data[2] == 0xC2) //receive direction, height, velocity
          {
            para_flag = 1;
            set_flag = 1;
            knift_motor.rpm = (int16_t)((step_motor_buf.data[3] << 8) | step_motor_buf.data[4]);
            knift_motor.dir = step_motor_buf.data[5];
            knift_motor.height = step_motor_buf.data[6];
          }
          else if(step_motor_buf.data[2] == 0xC0) //address
          {
            address_flag = 1;
          }
          else if(step_motor_buf.data[2] == 0xC1) //require version
          {
            version_flag = 1;
          }
        }
        else if(step_motor_buf.data[1] == 0x01) //lidar motor
        {

        }
      }

      //uart send
      if(address_flag == 1)
      {
        address_flag = 0;
        uint8_t buf_knife[9] = {0x55, 0x00, 0xC0, 0x00, 0x00, 0x00, 0x01, 0x00, 0xAA};
        buf_knife[7] = check_sum(&buf_knife[2], 5);

        HAL_UART_Transmit_IT(&huart3, &buf_knife[0], sizeof(buf_knife));
      }
      if(version_flag == 1) //发送版本号
      {
        version_flag = 0;
        uint8_t buf_knife_version[9] = {0x55, 0x00, 0xC1, 0x00, 0x01, 0x00, 0x01, 0x00, 0xAA};
        buf_knife_version[7] = check_sum(&buf_knife_version[2], 5);

        HAL_UART_Transmit_IT(&huart3, &buf_knife_version[0], sizeof(buf_knife_version));
      }
      if(para_flag == 1)
      {
        para_flag = 0;
        //发送电流值 状态值
        uint8_t buf_knife_state[9] = {0x55, 0x00, 0xC2, 0x00, 0x01, 0x00, 0x01, 0x00, 0xAA};
        buf_knife_state[5] = ADC_Value[0]; //电流值
        buf_knife_state[6] = 0x01;
        buf_knife_state[7] = check_sum(&buf_knife_state[2], 5);

        HAL_UART_Transmit_IT(&huart3, &buf_knife_state[0], sizeof(buf_knife_state));
      }
    }

    //限流
    if(ADC_Value[0] > 5 || ADC_Value[1] > 5)
    {
      HAL_GPIO_WritePin(DRIVER1_POW_EN_PORT, DRIVER1_POW_EN_PIN, GPIO_PIN_RESET);

      HAL_GPIO_WritePin(DRIVER1_A1_UP_PORT, DRIVER1_A1_UP_PIN, GPIO_PIN_RESET);
      HAL_GPIO_WritePin(DRIVER1_A1_DOWN_PORT, DRIVER1_A1_DOWN_PIN, GPIO_PIN_RESET);

      HAL_GPIO_WritePin(DRIVER1_B1_UP_PORT, DRIVER1_B1_UP_PIN, GPIO_PIN_RESET);
      HAL_GPIO_WritePin(DRIVER1_B1_DOWN_PORT, DRIVER1_B1_DOWN_PIN, GPIO_PIN_RESET);

      HAL_GPIO_WritePin(DRIVER1_A2_UP_PORT, DRIVER1_A2_UP_PIN, GPIO_PIN_RESET);
      HAL_GPIO_WritePin(DRIVER1_A2_DOWN_PORT, DRIVER1_A2_DOWN_PIN, GPIO_PIN_RESET);

      HAL_GPIO_WritePin(DRIVER1_B2_UP_PORT, DRIVER1_B2_UP_PIN, GPIO_PIN_RESET);
      HAL_GPIO_WritePin(DRIVER1_B2_DOWN_PORT, DRIVER1_B2_DOWN_PIN, GPIO_PIN_RESET);

      set_flag = 0;
    }

  }
  /* USER CODE END 3 */
}

void SystemClock_Config(void)
{
  RCC_OscInitTypeDef RCC_OscInitStruct = {0};
  RCC_ClkInitTypeDef RCC_ClkInitStruct = {0};
  RCC_PeriphCLKInitTypeDef PeriphClkInit = {0};

  /** Initializes the RCC Oscillators according to the specified parameters
  * in the RCC_OscInitTypeDef structure.
  */
  RCC_OscInitStruct.OscillatorType = RCC_OSCILLATORTYPE_HSE;
  RCC_OscInitStruct.HSEState = RCC_HSE_ON;
  RCC_OscInitStruct.HSEPredivValue = RCC_HSE_PREDIV_DIV1;
  RCC_OscInitStruct.HSIState = RCC_HSI_ON;
  RCC_OscInitStruct.PLL.PLLState = RCC_PLL_ON;
  RCC_OscInitStruct.PLL.PLLSource = RCC_PLLSOURCE_HSE;
  RCC_OscInitStruct.PLL.PLLMUL = RCC_PLL_MUL2;
  if (HAL_RCC_OscConfig(&RCC_OscInitStruct) != HAL_OK)
  {
    Error_Handler();
  }
  /** Initializes the CPU, AHB and APB buses clocks
  */
  RCC_ClkInitStruct.ClockType = RCC_CLOCKTYPE_HCLK|RCC_CLOCKTYPE_SYSCLK
                              |RCC_CLOCKTYPE_PCLK1|RCC_CLOCKTYPE_PCLK2;
  RCC_ClkInitStruct.SYSCLKSource = RCC_SYSCLKSOURCE_PLLCLK;
  RCC_ClkInitStruct.AHBCLKDivider = RCC_SYSCLK_DIV1;
  RCC_ClkInitStruct.APB1CLKDivider = RCC_HCLK_DIV1;
  RCC_ClkInitStruct.APB2CLKDivider = RCC_HCLK_DIV1;

  if (HAL_RCC_ClockConfig(&RCC_ClkInitStruct, FLASH_LATENCY_0) != HAL_OK)
  {
    Error_Handler();
  }
  PeriphClkInit.PeriphClockSelection = RCC_PERIPHCLK_ADC;
  PeriphClkInit.AdcClockSelection = RCC_ADCPCLK2_DIV2;
  if (HAL_RCCEx_PeriphCLKConfig(&PeriphClkInit) != HAL_OK)
  {
    Error_Handler();
  }
}

static void MX_ADC1_Init(void)
{

  ADC_ChannelConfTypeDef sConfig = {0};

  /** Common config
  */
  hadc1.Instance = ADC1;
  hadc1.Init.ScanConvMode = ADC_SCAN_ENABLE;
  hadc1.Init.ContinuousConvMode = DISABLE;
  hadc1.Init.DiscontinuousConvMode = ENABLE;
  hadc1.Init.NbrOfDiscConversion = 1;
  hadc1.Init.ExternalTrigConv = ADC_SOFTWARE_START;
  hadc1.Init.DataAlign = ADC_DATAALIGN_RIGHT;
  hadc1.Init.NbrOfConversion = 2;
  if (HAL_ADC_Init(&hadc1) != HAL_OK)
  {
    Error_Handler();
  }
  /** Configure Regular Channel
  */
  sConfig.Channel = ADC_CHANNEL_0;
  sConfig.Rank = ADC_REGULAR_RANK_1;
  sConfig.SamplingTime = ADC_SAMPLETIME_1CYCLE_5;
  if (HAL_ADC_ConfigChannel(&hadc1, &sConfig) != HAL_OK)
  {
    Error_Handler();
  }
  /** Configure Regular Channel
  */
  sConfig.Channel = ADC_CHANNEL_1;
  sConfig.Rank = ADC_REGULAR_RANK_2;
  if (HAL_ADC_ConfigChannel(&hadc1, &sConfig) != HAL_OK)
  {
    Error_Handler();
  }

}

static void MX_TIM2_Init(void)
{

  TIM_ClockConfigTypeDef sClockSourceConfig = {0};
  TIM_MasterConfigTypeDef sMasterConfig = {0};

  htim2.Instance = TIM2;
  htim2.Init.Prescaler = 16-1;
  htim2.Init.CounterMode = TIM_COUNTERMODE_UP;
  htim2.Init.Period = 800-1;
  htim2.Init.ClockDivision = TIM_CLOCKDIVISION_DIV1;
  htim2.Init.AutoReloadPreload = TIM_AUTORELOAD_PRELOAD_DISABLE;
  if (HAL_TIM_Base_Init(&htim2) != HAL_OK)
  {
    Error_Handler();
  }
  sClockSourceConfig.ClockSource = TIM_CLOCKSOURCE_INTERNAL;
  if (HAL_TIM_ConfigClockSource(&htim2, &sClockSourceConfig) != HAL_OK)
  {
    Error_Handler();
  }
  sMasterConfig.MasterOutputTrigger = TIM_TRGO_RESET;
  sMasterConfig.MasterSlaveMode = TIM_MASTERSLAVEMODE_DISABLE;
  if (HAL_TIMEx_MasterConfigSynchronization(&htim2, &sMasterConfig) != HAL_OK)
  {
    Error_Handler();
  }

}

static void MX_USART3_UART_Init(void)
{

  huart3.Instance = USART3;
  huart3.Init.BaudRate = 115200;
  huart3.Init.WordLength = UART_WORDLENGTH_8B;
  huart3.Init.StopBits = UART_STOPBITS_1;
  huart3.Init.Parity = UART_PARITY_NONE;
  huart3.Init.Mode = UART_MODE_TX_RX;
  huart3.Init.HwFlowCtl = UART_HWCONTROL_NONE;
  huart3.Init.OverSampling = UART_OVERSAMPLING_16;
  if (HAL_UART_Init(&huart3) != HAL_OK)
  {
    Error_Handler();
  }

}

static void MX_GPIO_Init(void)
{
  GPIO_InitTypeDef GPIO_InitStruct = {0};

  /* GPIO Ports Clock Enable */
  __HAL_RCC_GPIOC_CLK_ENABLE();
  __HAL_RCC_GPIOD_CLK_ENABLE();
  __HAL_RCC_GPIOA_CLK_ENABLE();
  __HAL_RCC_GPIOB_CLK_ENABLE();

  /*Configure GPIO pin Output Level */
  HAL_GPIO_WritePin(GPIOC, GPIO_PIN_13, GPIO_PIN_RESET);

  /*Configure GPIO pin Output Level */
  HAL_GPIO_WritePin(GPIOA, GPIO_PIN_2|GPIO_PIN_3|GPIO_PIN_6|GPIO_PIN_7
                          |GPIO_PIN_8|GPIO_PIN_9|GPIO_PIN_10|GPIO_PIN_11
                          |GPIO_PIN_15, GPIO_PIN_RESET);

  /*Configure GPIO pin Output Level */
  HAL_GPIO_WritePin(GPIOB, GPIO_PIN_0|GPIO_PIN_1|GPIO_PIN_13|GPIO_PIN_3
                          |GPIO_PIN_6|GPIO_PIN_7|GPIO_PIN_8|GPIO_PIN_9, GPIO_PIN_RESET);

  /*Configure GPIO pin : PC13 */
  GPIO_InitStruct.Pin = GPIO_PIN_13;
  GPIO_InitStruct.Mode = GPIO_MODE_OUTPUT_PP;
  GPIO_InitStruct.Pull = GPIO_NOPULL;
  GPIO_InitStruct.Speed = GPIO_SPEED_FREQ_LOW;
  HAL_GPIO_Init(GPIOC, &GPIO_InitStruct);

  /*Configure GPIO pins : PA2 PA3 PA6 PA7
                           PA8 PA9 PA10 PA11
                           PA15 */
  GPIO_InitStruct.Pin = GPIO_PIN_2|GPIO_PIN_3|GPIO_PIN_6|GPIO_PIN_7
                          |GPIO_PIN_8|GPIO_PIN_9|GPIO_PIN_10|GPIO_PIN_11
                          |GPIO_PIN_15;
  GPIO_InitStruct.Mode = GPIO_MODE_OUTPUT_PP;
  GPIO_InitStruct.Pull = GPIO_NOPULL;
  GPIO_InitStruct.Speed = GPIO_SPEED_FREQ_LOW;
  HAL_GPIO_Init(GPIOA, &GPIO_InitStruct);

  /*Configure GPIO pins : PA4 PA5 */
  GPIO_InitStruct.Pin = GPIO_PIN_4|GPIO_PIN_5;
  GPIO_InitStruct.Mode = GPIO_MODE_INPUT;
  GPIO_InitStruct.Pull = GPIO_NOPULL;
  HAL_GPIO_Init(GPIOA, &GPIO_InitStruct);

  /*Configure GPIO pins : PB0 PB1 PB13 PB3
                           PB6 PB7 PB8 PB9 */
  GPIO_InitStruct.Pin = GPIO_PIN_0|GPIO_PIN_1|GPIO_PIN_13|GPIO_PIN_3
                          |GPIO_PIN_6|GPIO_PIN_7|GPIO_PIN_8|GPIO_PIN_9;
  GPIO_InitStruct.Mode = GPIO_MODE_OUTPUT_PP;
  GPIO_InitStruct.Pull = GPIO_NOPULL;
  GPIO_InitStruct.Speed = GPIO_SPEED_FREQ_LOW;
  HAL_GPIO_Init(GPIOB, &GPIO_InitStruct);

  /*Configure GPIO pins : PB14 PB15 */
  GPIO_InitStruct.Pin = GPIO_PIN_14|GPIO_PIN_15;
  GPIO_InitStruct.Mode = GPIO_MODE_INPUT;
  GPIO_InitStruct.Pull = GPIO_NOPULL;
  HAL_GPIO_Init(GPIOB, &GPIO_InitStruct);

}

/* USER CODE BEGIN 4 */

uint32_t flag_reverse = 0;
uint32_t cnt = 0;
uint8_t up_flag = 0;

void HAL_TIM_PeriodElapsedCallback(TIM_HandleTypeDef *htim)
{ // 0.8ms
  if(TIM2 == htim->Instance)
  {
//    //正转15 stop 反转15 stop
//    cnt++;
//    if(cnt < 2000);
//    else if(cnt == 2000)
//    { //open
//      HAL_GPIO_WritePin(DRIVER1_POW_EN_PORT, DRIVER1_POW_EN_PIN, GPIO_PIN_SET);
//    }
//    else if(cnt < 5000)
//    {
//      setMotor_eight();
//    }
//    else if(cnt == 5000)
//    { //close
//      HAL_GPIO_WritePin(DRIVER1_POW_EN_PORT, DRIVER1_POW_EN_PIN, GPIO_PIN_RESET);
//
//      HAL_GPIO_WritePin(DRIVER1_A1_UP_PORT, DRIVER1_A1_UP_PIN, GPIO_PIN_RESET);
//      HAL_GPIO_WritePin(DRIVER1_A1_DOWN_PORT, DRIVER1_A1_DOWN_PIN, GPIO_PIN_RESET);
//
//      HAL_GPIO_WritePin(DRIVER1_B1_UP_PORT, DRIVER1_B1_UP_PIN, GPIO_PIN_RESET);
//      HAL_GPIO_WritePin(DRIVER1_B1_DOWN_PORT, DRIVER1_B1_DOWN_PIN, GPIO_PIN_RESET);
//
//      HAL_GPIO_WritePin(DRIVER1_A2_UP_PORT, DRIVER1_A2_UP_PIN, GPIO_PIN_RESET);
//      HAL_GPIO_WritePin(DRIVER1_A2_DOWN_PORT, DRIVER1_A2_DOWN_PIN, GPIO_PIN_RESET);
//
//
//      HAL_GPIO_WritePin(DRIVER1_B2_UP_PORT, DRIVER1_B2_UP_PIN, GPIO_PIN_RESET);
//      HAL_GPIO_WritePin(DRIVER1_B2_DOWN_PORT, DRIVER1_B2_DOWN_PIN, GPIO_PIN_RESET);
//    }
//    else if(cnt < 7000);
//    else if(cnt == 7000)
//    { //open
//      HAL_GPIO_WritePin(DRIVER1_POW_EN_PORT, DRIVER1_POW_EN_PIN, GPIO_PIN_SET);
//    }
//    else if(cnt <= 10000)
//    {
//      setMotor_eight_reverse();
//    }
//    else if(cnt > 10000)
//    { //close
//      HAL_GPIO_WritePin(DRIVER1_POW_EN_PORT, DRIVER1_POW_EN_PIN, GPIO_PIN_RESET);
//
//      HAL_GPIO_WritePin(DRIVER1_A1_UP_PORT, DRIVER1_A1_UP_PIN, GPIO_PIN_RESET);
//      HAL_GPIO_WritePin(DRIVER1_A1_DOWN_PORT, DRIVER1_A1_DOWN_PIN, GPIO_PIN_RESET);
//
//      HAL_GPIO_WritePin(DRIVER1_B1_UP_PORT, DRIVER1_B1_UP_PIN, GPIO_PIN_RESET);
//      HAL_GPIO_WritePin(DRIVER1_B1_DOWN_PORT, DRIVER1_B1_DOWN_PIN, GPIO_PIN_RESET);
//
//      HAL_GPIO_WritePin(DRIVER1_A2_UP_PORT, DRIVER1_A2_UP_PIN, GPIO_PIN_RESET);
//      HAL_GPIO_WritePin(DRIVER1_A2_DOWN_PORT, DRIVER1_A2_DOWN_PIN, GPIO_PIN_RESET);
//
//
//      HAL_GPIO_WritePin(DRIVER1_B2_UP_PORT, DRIVER1_B2_UP_PIN, GPIO_PIN_RESET);
//      HAL_GPIO_WritePin(DRIVER1_B2_DOWN_PORT, DRIVER1_B2_DOWN_PIN, GPIO_PIN_RESET);
//
//      cnt=0;
//    }

    if(set_flag == 1) //接收到标志 开始调节步进电机
    {
      if(up_flag == 0)
      {
        //向上到最高位
        cnt++;
        HAL_GPIO_WritePin(DRIVER1_POW_EN_PORT, DRIVER1_POW_EN_PIN, GPIO_PIN_SET);
        if(cnt < 2000 && stepmoto_check_high_knife == 0x01)
        {
          setMotor_four();
        }
        else
        {
          up_flag = 1;
          HAL_GPIO_WritePin(DRIVER1_POW_EN_PORT, DRIVER1_POW_EN_PIN, GPIO_PIN_RESET);

          HAL_GPIO_WritePin(DRIVER1_A1_UP_PORT, DRIVER1_A1_UP_PIN, GPIO_PIN_RESET);
          HAL_GPIO_WritePin(DRIVER1_A1_DOWN_PORT, DRIVER1_A1_DOWN_PIN, GPIO_PIN_RESET);

          HAL_GPIO_WritePin(DRIVER1_B1_UP_PORT, DRIVER1_B1_UP_PIN, GPIO_PIN_RESET);
          HAL_GPIO_WritePin(DRIVER1_B1_DOWN_PORT, DRIVER1_B1_DOWN_PIN, GPIO_PIN_RESET);

          HAL_GPIO_WritePin(DRIVER1_A2_UP_PORT, DRIVER1_A2_UP_PIN, GPIO_PIN_RESET);
          HAL_GPIO_WritePin(DRIVER1_A2_DOWN_PORT, DRIVER1_A2_DOWN_PIN, GPIO_PIN_RESET);

          HAL_GPIO_WritePin(DRIVER1_B2_UP_PORT, DRIVER1_B2_UP_PIN, GPIO_PIN_RESET);
          HAL_GPIO_WritePin(DRIVER1_B2_DOWN_PORT, DRIVER1_B2_DOWN_PIN, GPIO_PIN_RESET);

          cnt = 0;
        }
      }
      else
      {
        //延时一段时间再调节
        cnt++;
        if(cnt < 2000);
        else if(cnt ==2000)
        {
          //open EN
          HAL_GPIO_WritePin(DRIVER1_POW_EN_PORT, DRIVER1_POW_EN_PIN, GPIO_PIN_SET);
        }
        else if(cnt < 4000 && stepmoto_check_low_knife == 0x01) //圈数
        {
          setMotor_four_reverse();
        }
        else
        { //调节结束
          up_flag = 0;
          set_flag = 0;
          HAL_GPIO_WritePin(DRIVER1_POW_EN_PORT, DRIVER1_POW_EN_PIN, GPIO_PIN_RESET);

          HAL_GPIO_WritePin(DRIVER1_A1_UP_PORT, DRIVER1_A1_UP_PIN, GPIO_PIN_RESET);
          HAL_GPIO_WritePin(DRIVER1_A1_DOWN_PORT, DRIVER1_A1_DOWN_PIN, GPIO_PIN_RESET);

          HAL_GPIO_WritePin(DRIVER1_B1_UP_PORT, DRIVER1_B1_UP_PIN, GPIO_PIN_RESET);
          HAL_GPIO_WritePin(DRIVER1_B1_DOWN_PORT, DRIVER1_B1_DOWN_PIN, GPIO_PIN_RESET);

          HAL_GPIO_WritePin(DRIVER1_A2_UP_PORT, DRIVER1_A2_UP_PIN, GPIO_PIN_RESET);
          HAL_GPIO_WritePin(DRIVER1_A2_DOWN_PORT, DRIVER1_A2_DOWN_PIN, GPIO_PIN_RESET);

          HAL_GPIO_WritePin(DRIVER1_B2_UP_PORT, DRIVER1_B2_UP_PIN, GPIO_PIN_RESET);
          HAL_GPIO_WritePin(DRIVER1_B2_DOWN_PORT, DRIVER1_B2_DOWN_PIN, GPIO_PIN_RESET);

          cnt = 0;
        }
      }
    }
  }
}

//步进电机串口中断回调函数
void step_motor_receive_hanlder(void)
{
  static uint8_t num = 0;
  static uint8_t command_type;
  switch(num)
  {
    case 0:
      if(RxBuffer == 0x55)
      {
        step_motor_buf.data[num] = RxBuffer;
        num++;
      }
      break;
    case 1:
    {
      if(RxBuffer >= 0x01 && RxBuffer <= 0x02)
      {
        step_motor_buf.data[num] = RxBuffer;
        num++;
        step_motor_buf.data_from = RxBuffer;
        break;
      }
      num = 0;
      break;
    }
    case 2:
    {
      command_type = RxBuffer;
      if(command_type >= 0xC0 && command_type <= 0xC3)
      {
        step_motor_buf.data[num] = RxBuffer;
        num++;
        break;
      }
      num = 0;
      break;
    }
    case 8:
    {
      if(RxBuffer == 0xAA) //结束位
      {
        step_motor_buf.data[num] = RxBuffer;
        rec_flag = 1;
      }
      num = 0;
    }
    default:
      step_motor_buf.data[num] = RxBuffer;
      num++;
      break;
  }

  //HAL_UART_Receive_IT(&huart3, (uint8_t *)&RxBuffer, 1); //???
}

void HAL_UART_RxCpltCallback(UART_HandleTypeDef *huart)
{
  /****************** uart3:  *********************/
  if(huart->Instance == USART3)
  {
    step_motor_receive_hanlder();
   // HAL_UART_Transmit(&huart3, (uint8_t *)&RxBuffer, 10, 0xFFFF);
  }
}

/* USER CODE END 4 */

void Error_Handler(void)
{
  __disable_irq();
  while (1)
  {
  }
}
